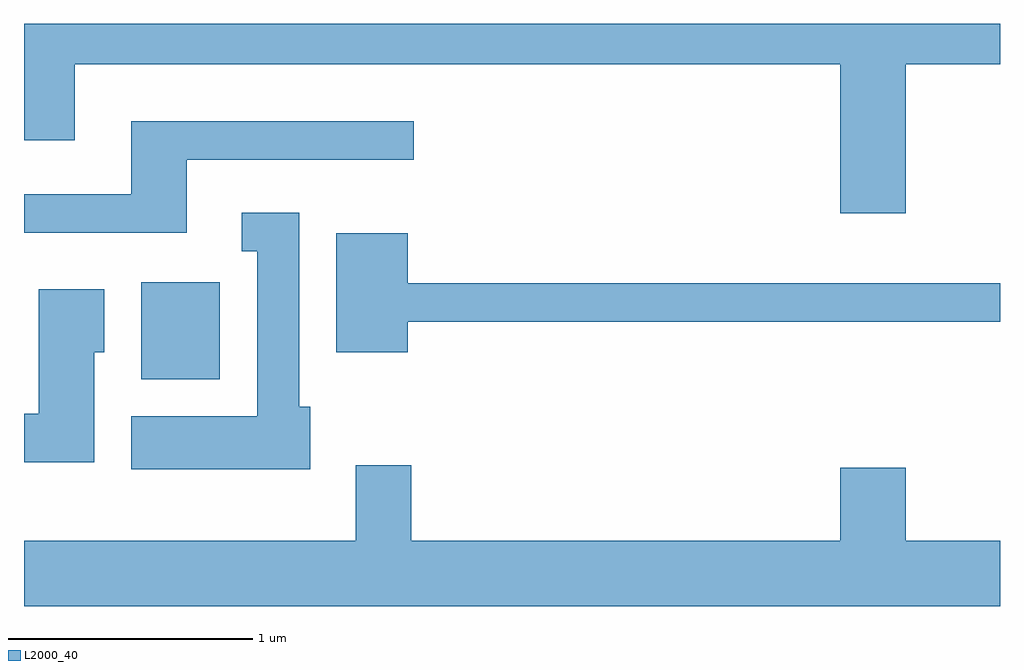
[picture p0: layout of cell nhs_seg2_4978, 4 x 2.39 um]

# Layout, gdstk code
import gdstk
lib = gdstk.Library(unit=1e-6, precision=1e-09)
def R(c, l, rs):  # rectangles x0, y0, x1, y1
    for r in rs: c.add(gdstk.rectangle(r[:2], r[2:], *l))
def P(c, l, *ps):  # polygons
    for p in ps: c.add(gdstk.Polygon(p, *l))
L2000_40 = (2000, 40)

nhs_seg2_4978 = lib.new_cell('nhs_seg2_4978')
R(nhs_seg2_4978, L2000_40, [(332.091,1060.346,332.414,1060.744)])
P(nhs_seg2_4978, L2000_40, [(335.224,1061.636),(335.611,1061.636),(335.611,1061.802),(331.611,1061.802),(331.611,1061.326),(331.819,1061.326),(331.819,1061.636),(334.956,1061.636),(334.956,1061.026),(335.224,1061.026)],
  [(332.279,1061.246),(333.208,1061.246),(333.208,1061.404),(332.051,1061.404),(332.051,1061.104),(331.611,1061.104),(331.611,1060.946),(332.279,1060.946)],
  [(332.784,1060.234),(332.739,1060.234),(332.739,1061.029),(332.503,1061.029),(332.503,1060.871),(332.566,1060.871),(332.566,1060.194),(332.051,1060.194),(332.051,1059.976),(332.784,1059.976)],
  [(333.184,1060.581),(335.611,1060.581),(335.611,1060.739),(333.184,1060.739),(333.184,1060.944),(332.891,1060.944),(332.891,1060.456),(333.184,1060.456)],
  [(331.899,1060.456),(331.939,1060.456),(331.939,1060.714),(331.671,1060.714),(331.671,1060.204),(331.611,1060.204),(331.611,1060.006),(331.899,1060.006)],
  [(335.611,1059.684),(335.224,1059.684),(335.224,1059.984),(334.956,1059.984),(334.956,1059.684),(333.199,1059.684),(333.199,1059.994),(332.971,1059.994),(332.971,1059.684),(331.611,1059.684),(331.611,1059.416),(335.611,1059.416)])

lib.write_gds('nhs_seg2_4978.gds')
